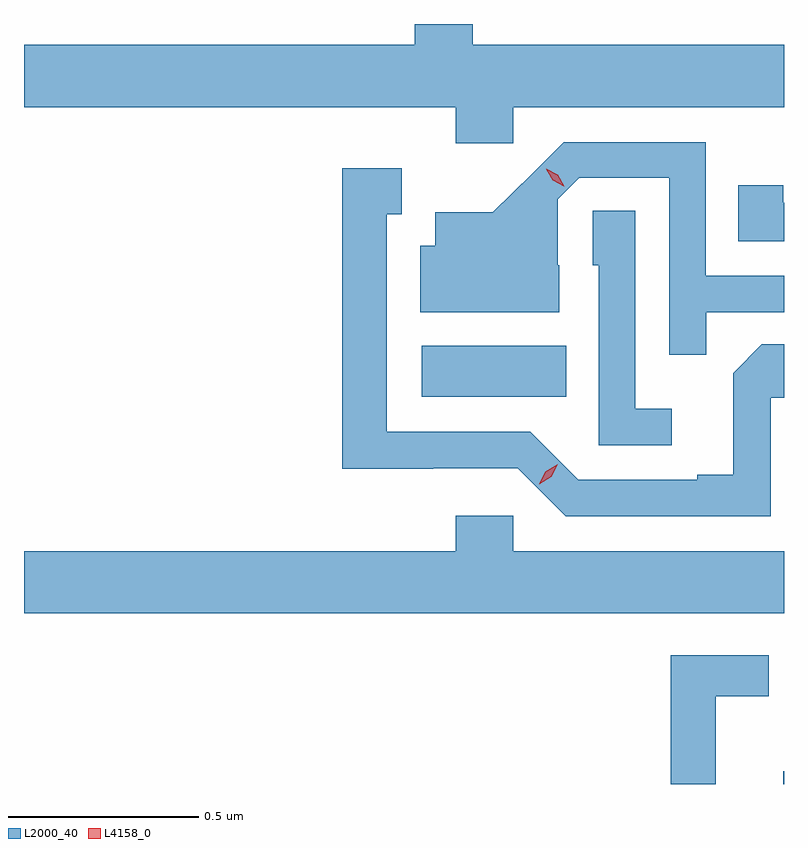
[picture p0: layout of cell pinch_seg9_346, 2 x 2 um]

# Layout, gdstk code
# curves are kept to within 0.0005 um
import gdstk
lib = gdstk.Library(unit=1e-6, precision=1e-09)
def R(c, l, rs):  # rectangles x0, y0, x1, y1
    for r in rs: c.add(gdstk.rectangle(r[:2], r[2:], *l))
def P(c, l, *ps):  # polygons
    for p in ps: c.add(gdstk.Polygon(p, *l))
L2000_40 = (2000, 40)
L4158_0 = (4158, 0)

pinch_seg9_346 = lib.new_cell('pinch_seg9_346')
R(pinch_seg9_346, L2000_40, [(615.627,1189.311,615.629,1189.345), (614.676,1190.33,615.056,1190.464)])
P(pinch_seg9_346, L2000_40, [(614.916,1191.092),(615.629,1191.092),(615.629,1191.256),(614.81,1191.256),(614.81,1191.311),(614.657,1191.311),(614.657,1191.256),(613.629,1191.256),(613.629,1191.092),(614.765,1191.092),(614.765,1190.997),(614.916,1190.997)],
  [(615.425,1190.553),(615.629,1190.553),(615.629,1190.649),(615.423,1190.649),(615.423,1191),(615.05,1191),(614.863,1190.815),(614.711,1190.815),(614.711,1190.728),(614.672,1190.728),(614.672,1190.552),(615.037,1190.552),(615.037,1190.676),(615.033,1190.676),(615.033,1190.85),(615.09,1190.907),(615.327,1190.907),(615.327,1190.44),(615.425,1190.44)],
  [(615.594,1190.328),(615.629,1190.328),(615.629,1190.468),(615.571,1190.468),(615.495,1190.392),(615.495,1190.125),(615.401,1190.125),(615.401,1190.112),(615.087,1190.112),(614.961,1190.238),(614.584,1190.238),(614.584,1190.811),(614.623,1190.811),(614.623,1190.932),(614.466,1190.932),(614.466,1190.141),(614.706,1190.141),(614.706,1190.142),(614.928,1190.142),(615.054,1190.016),(615.594,1190.016)],
  [(615.629,1190.84),(615.627,1190.84),(615.627,1190.887),(615.508,1190.887),(615.508,1190.739),(615.629,1190.739)],
  [(615.334,1190.299),(615.237,1190.299),(615.237,1190.819),(615.126,1190.819),(615.126,1190.676),(615.141,1190.676),(615.141,1190.202),(615.334,1190.202)],
  [(615.629,1189.924),(614.916,1189.924),(614.916,1190.017),(614.765,1190.017),(614.765,1189.924),(613.629,1189.924),(613.629,1189.76),(615.629,1189.76)],
  [(615.449,1189.542),(615.589,1189.542),(615.589,1189.65),(615.331,1189.65),(615.331,1189.311),(615.449,1189.311)])
P(pinch_seg9_346, L4158_0, [(615.05,1190.884),(615.02,1190.9),(615.003,1190.929),(615.003,1190.93),(615.003,1190.93),(615.034,1190.914),(615.051,1190.884),(615.051,1190.884)],
  [(614.985,1190.1),(614.985,1190.1),(615.001,1190.133),(615.033,1190.153),(615.033,1190.153),(615.033,1190.152),(615.016,1190.119),(614.985,1190.1)])

lib.write_gds('pinch_seg9_346.gds')
